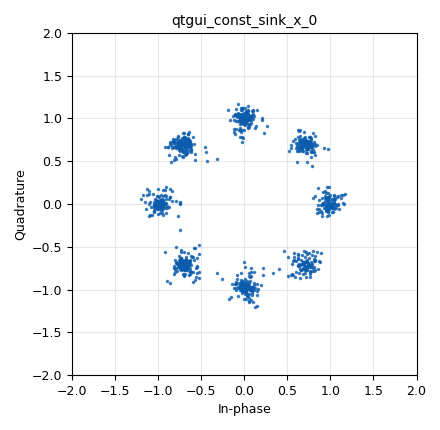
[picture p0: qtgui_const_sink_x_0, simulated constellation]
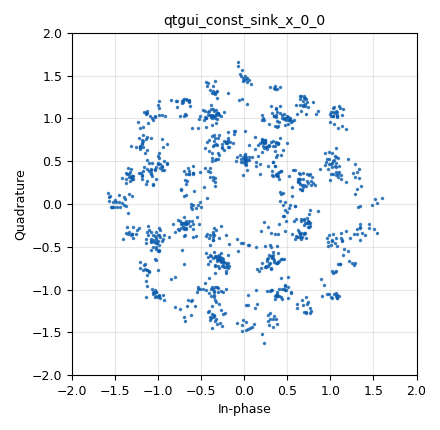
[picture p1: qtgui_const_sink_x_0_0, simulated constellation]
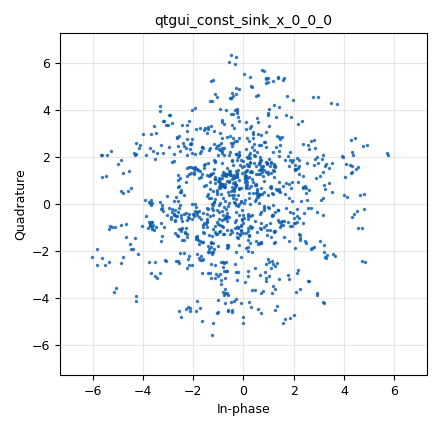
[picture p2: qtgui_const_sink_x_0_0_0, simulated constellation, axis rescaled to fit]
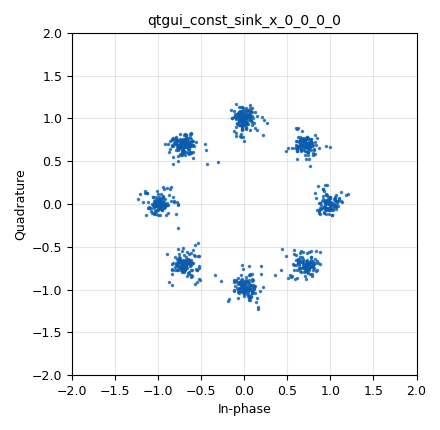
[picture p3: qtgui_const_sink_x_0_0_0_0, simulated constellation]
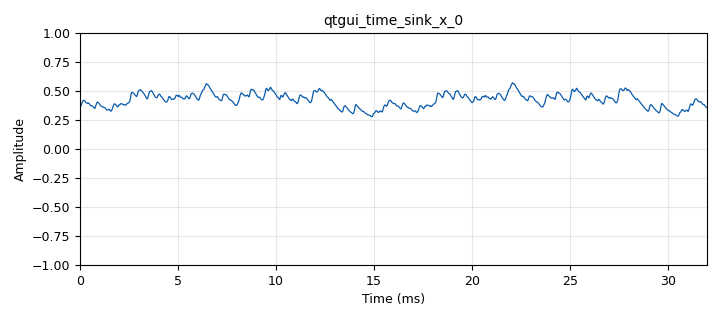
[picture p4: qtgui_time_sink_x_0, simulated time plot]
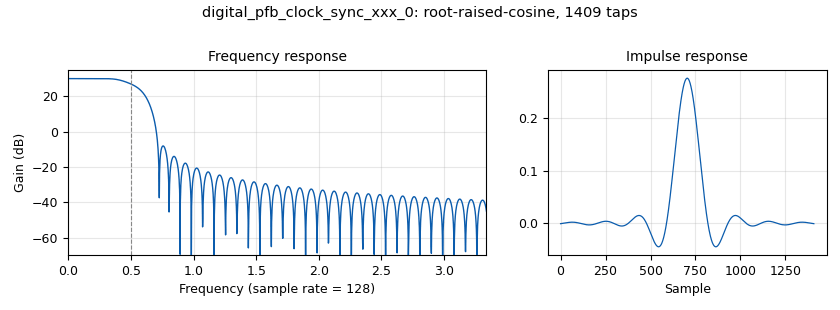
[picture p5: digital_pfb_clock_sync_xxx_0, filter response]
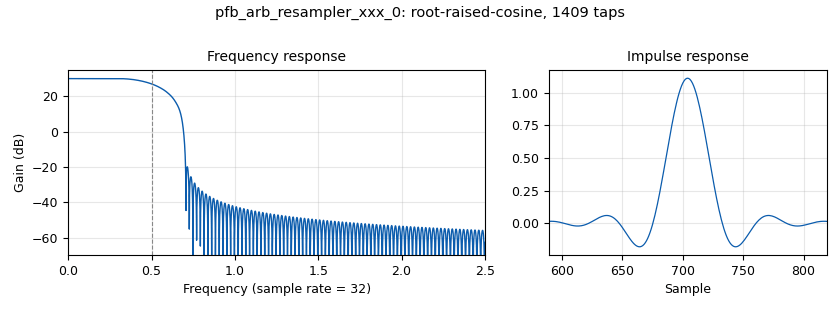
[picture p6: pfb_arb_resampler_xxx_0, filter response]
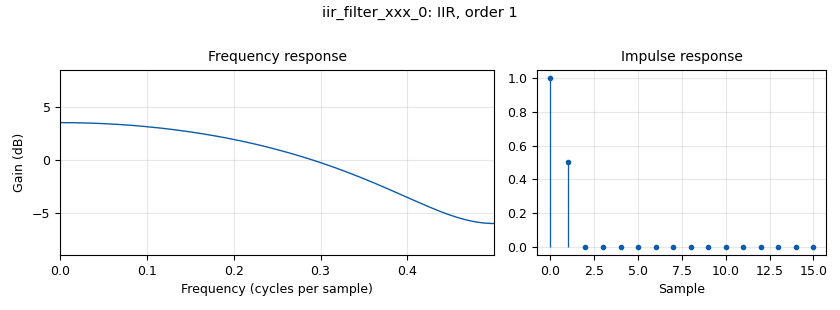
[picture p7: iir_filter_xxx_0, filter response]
options:
  parameters:
    author: vinam
    generate_options: qt_gui
    id: lab7_2_3
    output_language: python
    title: Not titled yet
  states: {}

blocks:
- name: nfilts
  id: variable
  parameters:
    value: '32'
  states: {}
- name: ntaps
  id: variable
  parameters:
    value: 11*nfilts*sps
  states: {}
- name: rx_taps
  id: variable
  parameters:
    value: firdes.root_raised_cosine(nfilts,nfilts*sps,1.0,0.4,ntaps)
  states: {}
- name: samp_rate
  id: variable
  parameters:
    value: '32000'
  states: {}
- name: sps
  id: variable
  parameters:
    value: '4'
  states: {}
- name: tap1
  id: variable_qtgui_range
  parameters:
    label: Tap1
    orient: Qt.Horizontal
    start: '-1'
    step: '0.00001'
    stop: '1'
    value: '1'
  states: {}
- name: tap2
  id: variable_qtgui_range
  parameters:
    label: Tap2
    orient: Qt.Horizontal
    start: '-1'
    step: '0.00001'
    stop: '1'
    value: '1'
  states: {}
- name: tap3
  id: variable_qtgui_range
  parameters:
    label: Tap3
    orient: Qt.Horizontal
    start: '-1'
    step: '0.00001'
    stop: '1'
    value: '1'
  states: {}
- name: tap4
  id: variable_qtgui_range
  parameters:
    label: Tap4
    orient: Qt.Horizontal
    start: '-1'
    step: '0.00001'
    stop: '1'
    value: '1'
  states: {}
- name: timing_bw
  id: variable
  parameters:
    value: 2*pi/100
  states: {}
- name: tx_taps
  id: variable
  parameters:
    value: firdes.root_raised_cosine(nfilts,nfilts,1.0,0.4,ntaps)
  states: {}
- name: analog_noise_source_x_0
  id: analog_noise_source_x
  parameters:
    amp: '0.05'
    noise_type: analog.GR_GAUSSIAN
    seed: '0'
    type: complex
  states: {}
- name: analog_random_source_x_0
  id: analog_random_source_x
  parameters:
    max: '8'
    min: '0'
    num_samps: '1000'
    repeat: 'True'
    type: byte
  states: {}
- name: blocks_abs_xx_0
  id: blocks_abs_xx
  parameters:
    type: float
  states: {}
- name: blocks_add_const_vxx_0
  id: blocks_add_const_vxx
  parameters:
    const: '-1'
    type: float
  states: {}
- name: blocks_add_xx_0
  id: blocks_add_xx
  parameters:
    type: complex
  states: {}
- name: blocks_complex_to_mag_squared_0
  id: blocks_complex_to_mag_squared
  parameters: {}
  states: {}
- name: blocks_throttle_0
  id: blocks_throttle
  parameters:
    samples_per_second: samp_rate
    type: complex
  states: {}
- name: blocks_throttle_0_0
  id: blocks_throttle
  parameters:
    samples_per_second: samp_rate
    type: complex
  states: {}
- name: blocks_throttle_0_0_0
  id: blocks_throttle
  parameters:
    samples_per_second: samp_rate
    type: complex
  states: {}
- name: blocks_throttle_0_0_0_0
  id: blocks_throttle
  parameters:
    samples_per_second: samp_rate
    type: complex
  states: {}
- name: blocks_throttle_0_0_1
  id: blocks_throttle
  parameters:
    samples_per_second: samp_rate
    type: float
  states: {}
- name: digital_chunks_to_symbols_xx_0
  id: digital_chunks_to_symbols_xx
  parameters:
    dimension: '1'
    in_type: byte
    out_type: complex
    symbol_table: ((-0.707-0.707j),(-1-0j),(-0.707+0.707j),(0+1j),(0.707+0.707j),(1+0j),(0.707-0.707j),(0-1j))
  states: {}
- name: digital_pfb_clock_sync_xxx_0
  id: digital_pfb_clock_sync_xxx
  parameters:
    filter_size: '32'
    init_phase: '16'
    loop_bw: timing_bw
    max_dev: '1.5'
    osps: '1'
    sps: '8'
    taps: rx_taps
    type: ccf
  states: {}
- name: iir_filter_xxx_0
  id: iir_filter_xxx
  parameters:
    fbtaps: '1'
    fftaps: '[1, 0.5]'
    type: ccf
  states: {}
- name: iir_filter_xxx_1
  id: iir_filter_xxx
  parameters:
    fbtaps: '1'
    fftaps: '[1,tap1, tap2, tap3, tap4]'
    type: ccf
  states: {}
- name: iir_filter_xxx_1_1
  id: iir_filter_xxx
  parameters:
    fbtaps: '1'
    fftaps: '[1,-0.5,0.25,-0.125,0.0625]'
    type: ccf
  states: {}
- name: iir_filter_xxx_2
  id: iir_filter_xxx
  parameters:
    fbtaps: '[1,0.98]'
    fftaps: '[0.001]'
    type: ffd
  states: {}
- name: import_0
  id: import
  parameters:
    imports: from math import pi as pi
  states: {}
- name: import_1
  id: import
  parameters:
    imports: from gnuradio import digital
  states: {}
- name: import_2
  id: import
  parameters:
    imports: from gnuradio.filter import firdes
  states: {}
- name: pfb_arb_resampler_xxx_0
  id: pfb_arb_resampler_xxx
  parameters:
    atten: '100'
    nfilts: '32'
    rrate: sps
    taps: tx_taps
    type: ccf
  states: {}
- name: qtgui_const_sink_x_0
  id: qtgui_const_sink_x
  parameters:
    gui_hint: widget@0
    size: '1024'
    type: complex
  states: {}
- name: qtgui_const_sink_x_0_0
  id: qtgui_const_sink_x
  parameters:
    gui_hint: widget@1
    size: '1024'
    type: complex
  states: {}
- name: qtgui_const_sink_x_0_0_0
  id: qtgui_const_sink_x
  parameters:
    gui_hint: widget@2
    size: '1024'
    type: complex
  states: {}
- name: qtgui_const_sink_x_0_0_0_0
  id: qtgui_const_sink_x
  parameters:
    gui_hint: widget@4
    size: '1024'
    type: complex
  states: {}
- name: qtgui_time_sink_x_0
  id: qtgui_time_sink_x
  parameters:
    gui_hint: widget@3
    size: '1024'
    srate: samp_rate
    type: float
  states: {}
- name: widget
  id: qtgui_tab_widget
  parameters:
    label0: Before Multipath, with noise
    label1: After Multipath, with noise
    label2: After Equalizer
    label3: Error
    label4: With Calculated Coefficients
    num_tabs: '5'
  states: {}

connections:
- [analog_noise_source_x_0, '0', blocks_add_xx_0, '1']
- [analog_random_source_x_0, '0', digital_chunks_to_symbols_xx_0, '0']
- [blocks_abs_xx_0, '0', iir_filter_xxx_2, '0']
- [blocks_add_const_vxx_0, '0', blocks_abs_xx_0, '0']
- [blocks_add_xx_0, '0', blocks_throttle_0, '0']
- [blocks_add_xx_0, '0', iir_filter_xxx_0, '0']
- [blocks_complex_to_mag_squared_0, '0', blocks_add_const_vxx_0, '0']
- [blocks_throttle_0, '0', qtgui_const_sink_x_0, '0']
- [blocks_throttle_0_0, '0', qtgui_const_sink_x_0_0, '0']
- [blocks_throttle_0_0_0, '0', qtgui_const_sink_x_0_0_0, '0']
- [blocks_throttle_0_0_0_0, '0', qtgui_const_sink_x_0_0_0_0, '0']
- [blocks_throttle_0_0_1, '0', qtgui_time_sink_x_0, '0']
- [digital_chunks_to_symbols_xx_0, '0', pfb_arb_resampler_xxx_0, '0']
- [digital_pfb_clock_sync_xxx_0, '0', blocks_add_xx_0, '0']
- [iir_filter_xxx_0, '0', blocks_throttle_0_0, '0']
- [iir_filter_xxx_0, '0', iir_filter_xxx_1, '0']
- [iir_filter_xxx_0, '0', iir_filter_xxx_1_1, '0']
- [iir_filter_xxx_1, '0', blocks_complex_to_mag_squared_0, '0']
- [iir_filter_xxx_1, '0', blocks_throttle_0_0_0, '0']
- [iir_filter_xxx_1_1, '0', blocks_throttle_0_0_0_0, '0']
- [iir_filter_xxx_2, '0', blocks_throttle_0_0_1, '0']
- [pfb_arb_resampler_xxx_0, '0', digital_pfb_clock_sync_xxx_0, '0']

metadata:
  file_format: 1
